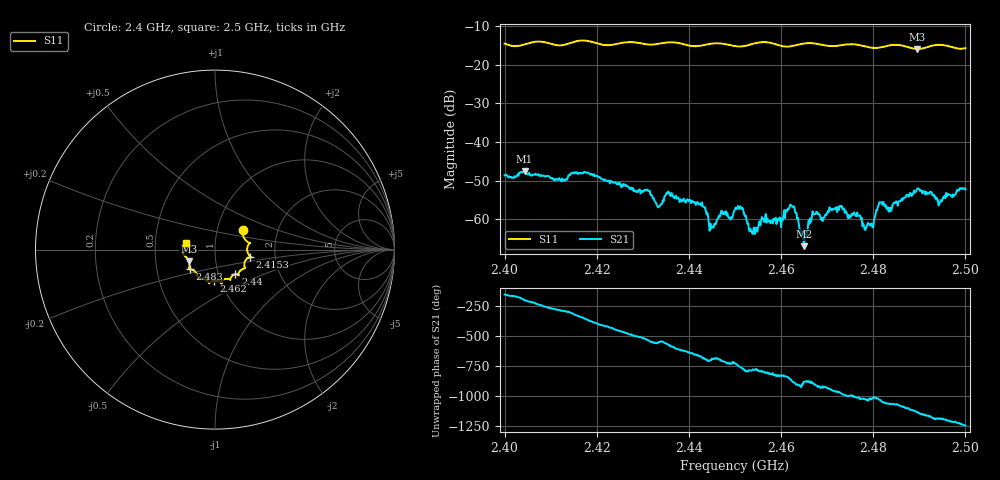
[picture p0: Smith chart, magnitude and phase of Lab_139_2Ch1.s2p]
# Hz S RI R 50
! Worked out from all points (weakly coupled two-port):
!   601 points, 2.4 GHz to 2.5 GHz, reference 50 ohm
!   highest |S21| = -47.59 dB at 2.4043 GHz (marker M1); lowest = -67.0 dB at 2.465 GHz (marker M2)
!   lowest |S11| = -15.9 dB at 2.4895 GHz (marker M3), VSWR 1.38, Z = 36.9 - j5 ohm
!   |S11| at or under -10 dB: start of sweep to end of sweep
!   S12 and S22 are empty: the file has one direction only
!   S11 on the Smith chart (normalised r, x): 2.4 GHz: 1.33, +0.29; 2.4153 GHz: 1.48, -0.12; 2.44 GHz: 1.20, -0.34; 2.462 GHz: 0.93, -0.33; 2.483 GHz: 0.74, -0.17; 2.5 GHz: 0.72, +0.06
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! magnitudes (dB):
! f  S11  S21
! 2.4 GHz  -14.5  -48.6
! 2.4043 GHz  -14.7  -47.6
! 2.4153 GHz  -14.0  -47.9
! 2.4167 GHz  -13.7  -48.2
! 2.431 GHz  -14.7  -52.4
! 2.4333 GHz  -14.6  -56.9
! 2.4353 GHz  -14.2  -53.3
! 2.44 GHz  -15.0  -55.3
! 2.443 GHz  -14.9  -56.7
! 2.4448 GHz  -14.5  -62.3
! 2.45 GHz  -15.1  -57.5
! 2.4538 GHz  -14.6  -63.8
! 2.462 GHz  -15.2  -56.2
! 2.465 GHz  -14.5  -67.0
! 2.4667 GHz  -14.4  -59.6
! 2.4732 GHz  -14.9  -56.6
! 2.4782 GHz  -15.2  -62.7
! 2.483 GHz  -15.1  -57.4
! 2.4833 GHz  -15.0  -58.0
! 2.4895 GHz  -15.9  -52.1
! 2.4945 GHz  -14.8  -55.5
! 2.5 GHz  -15.7  -52.2
